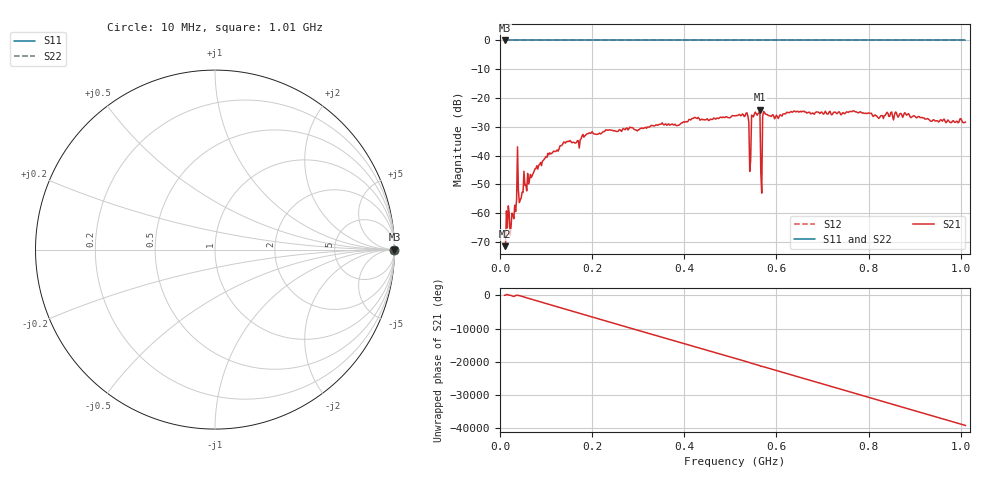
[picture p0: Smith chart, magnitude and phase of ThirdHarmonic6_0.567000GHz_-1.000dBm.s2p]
! 8/15/2025 6:10:35 PM
! C:\ANRITSUVNA\TEMP\TEMP.S2P
! CHANNEL.1
! TR.MEASUREMENT
! RAW.DATA
! RF.CORRECTION.OFF
! AVERAGING.OFF
! IF.BANDWIDTH: 5KHZ
! SWEEPTYPE:  FREQ.SWEEP(Linear)
! Reference Plane Port Info
! PORT:  PORT1  PORT2
! DISTANCE:  0  m  0  m
! TIME:  0  s  0  s
! PHASE.OFFSET:  0  deg.  0  deg.
! LOSS:  0  dB  0  dB
! REF.LOSS:  0  dB  0  dB
! REF.FREQ:  0  Hz  0  Hz
! Power Info
! POWER:  -20  dBm  -20  dBm
! EFF.POWER:  -20  dBm  -20  dBm
! SOURCE.ATTEN:  0  dB  0  dB
! TEST.ATTEN:  0  dB  0  dB
# GHZ S RI R 50.0
! FREQ.GHZ  S11RE  S11IM  S21RE  S21IM  S12RE  S12IM  S22RE  S22IM
!; PortSelection: Port_12
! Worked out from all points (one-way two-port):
!   501 points, 10 MHz to 1.01 GHz, reference 50 ohm
!   highest |S21| = -24.00 dB at 564 MHz (marker M1); lowest = -71.5 dB at 10 MHz (marker M2)
!   lowest |S11| = 0.0 dB at 10 MHz (marker M3)
!   |S11| at or under -10 dB: nowhere
!   |S22| runs from 0.0 to 0.0 dB; largest |S21 - S12| = 1.1
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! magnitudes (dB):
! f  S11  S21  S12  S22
! 10 MHz  0.0  -71.5  0.0  0.0
! 16 MHz  0.0  -65.2  0.0  0.0
! 26 MHz  0.0  -60.0  0.0  0.0
! 36 MHz  0.0  -55.4  0.0  0.0
! 40 MHz  0.0  -52.3  0.0  0.0
! 46 MHz  0.0  -54.8  0.0  0.0
! 56 MHz  0.0  -50.1  0.0  0.0
! 104 MHz  0.0  -39.2  0.0  0.0
! 178 MHz  0.0  -33.2  0.0  0.0
! 344 MHz  0.0  -29.3  0.0  0.0
! 510 MHz  0.0  -26.2  0.0  0.0
! 536 MHz  0.0  -25.1  0.0  0.0
! 540 MHz  0.0  -28.4  0.0  0.0
! 544 MHz  0.0  -41.6  0.0  0.0
! 550 MHz  0.0  -26.6  0.0  0.0
! 560 MHz  0.0  -25.4  0.0  0.0
! 564 MHz  0.0  -24.0  0.0  0.0
! 570 MHz  0.0  -26.5  0.0  0.0
! 574 MHz  0.0  -25.0  0.0  0.0
! 678 MHz  0.0  -25.2  0.0  0.0
! 844 MHz  0.0  -26.5  0.0  0.0
! 1.01 GHz  0.0  -28.4  0.0  0.0
